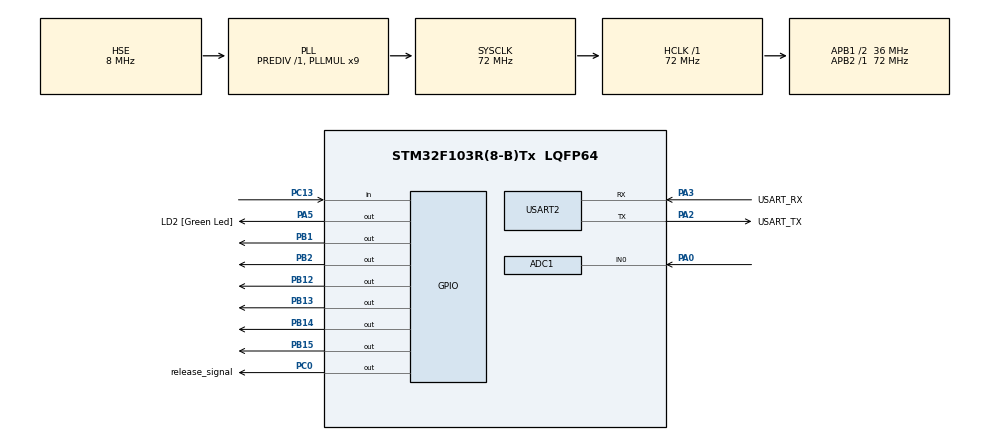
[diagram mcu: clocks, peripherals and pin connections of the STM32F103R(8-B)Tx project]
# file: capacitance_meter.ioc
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ADC1.AWD1HighThreshold=2589
ADC1.AWD1ITMode=ENABLE
ADC1.Channel-1\#ChannelRegularConversion=ADC_CHANNEL_0
ADC1.ContinuousConvMode=ENABLE
ADC1.EnableAnalogWatchDog=true
ADC1.NbrOfConversion=1
ADC1.NbrOfConversionFlag=1
ADC1.Rank-1\#ChannelRegularConversion=1
ADC1.SamplingTime-1\#ChannelRegularConversion=ADC_SAMPLETIME_1CYCLE_5
ADC1.WatchdogChannel=ADC_CHANNEL_0
ADC1.master=1
Mcu.Family=STM32F1
Mcu.Name=STM32F103R(8-B)Tx
Mcu.Package=LQFP64
NVIC.ADC1_2_IRQn=true\:0\:0\:false\:false\:true\:true\:true\:true
NVIC.PriorityGroup=NVIC_PRIORITYGROUP_4
PA0-WKUP.Signal=ADCx_IN0
PA13.GPIO_Label=TMS
PA13.Mode=Serial_Wire
PA13.Signal=SYS_JTMS-SWDIO
PA14.GPIO_Label=TCK
PA14.Mode=Serial_Wire
PA14.Signal=SYS_JTCK-SWCLK
PA2.GPIO_Label=USART_TX
PA2.GPIO_Mode=GPIO_MODE_AF_PP
PA2.GPIO_PuPd=GPIO_NOPULL
PA2.GPIO_Speed=GPIO_SPEED_FREQ_LOW
PA2.Mode=Asynchronous
PA2.Signal=USART2_TX
PA3.GPIO_Label=USART_RX
PA3.GPIO_Mode=GPIO_MODE_AF_PP
PA3.GPIO_PuPd=GPIO_NOPULL
PA3.GPIO_Speed=GPIO_SPEED_FREQ_LOW
PA3.Mode=Asynchronous
PA3.Signal=USART2_RX
PA5.GPIO_Label=LD2 [Green Led]
PA5.GPIO_ModeDefaultOutputPP=GPIO_MODE_OUTPUT_PP
PA5.GPIO_PuPd=GPIO_NOPULL
PA5.GPIO_Speed=GPIO_SPEED_FREQ_LOW
PA5.Signal=GPIO_Output
PB1.Signal=GPIO_Output
PB12.Signal=GPIO_Output
PB13.Signal=GPIO_Output
PB14.Signal=GPIO_Output
PB15.Signal=GPIO_Output
PB2.Signal=GPIO_Output
PB3.GPIO_Label=SWO
PB3.Signal=SYS_JTDO-TRACESWO
PC0.GPIO_Label=release_signal
PC0.Signal=GPIO_Output
PC13-TAMPER-RTC.GPIO_PuPd=GPIO_PULLUP
PC13-TAMPER-RTC.Signal=GPIO_Input
PC14-OSC32_IN.Mode=LSE-External-Oscillator
PC14-OSC32_IN.Signal=RCC_OSC32_IN
PC15-OSC32_OUT.Mode=LSE-External-Oscillator
PC15-OSC32_OUT.Signal=RCC_OSC32_OUT
PD0-OSC_IN.Mode=HSE-External-Clock-Source
PD0-OSC_IN.Signal=RCC_OSC_IN
PD1-OSC_OUT.Mode=HSE-External-Clock-Source
PD1-OSC_OUT.Signal=RCC_OSC_OUT
ProjectManager.HeapSize=0x200
ProjectManager.StackSize=0x400
ProjectManager.TargetToolchain=STM32CubeIDE
RCC.ADCPresc=RCC_ADCPCLK2_DIV6
RCC.AHBFreq_Value=72000000
RCC.APB1CLKDivider=RCC_HCLK_DIV2
RCC.APB1Freq_Value=36000000
RCC.APB1TimFreq_Value=72000000
RCC.APB2Freq_Value=72000000
RCC.APB2TimFreq_Value=72000000
RCC.HCLKFreq_Value=72000000
RCC.PLLMUL=RCC_PLL_MUL9
RCC.PLLSourceVirtual=RCC_PLLSOURCE_HSE
RCC.RTCClockSelection=RCC_RTCCLKSOURCE_LSE
RCC.SYSCLKFreq_VALUE=72000000
RCC.SYSCLKSource=RCC_SYSCLKSOURCE_PLLCLK
RCC.USBFreq_Value=72000000
SH.ADCx_IN0.0=ADC1_IN0,IN0
TIM1.Prescaler=72-1
USART2.VirtualMode=VM_ASYNC
VP_TIM1_VS_ClockSourceINT.Mode=Internal
board=NUCLEO-F103RB

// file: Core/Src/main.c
/* USER CODE BEGIN Header */
/**
  ******************************************************************************
  * @file           : main.c
  * @brief          : Main program body
  ******************************************************************************
  * @attention
  *
  * Copyright (c) 2023 STMicroelectronics.
  * All rights reserved.
  *
  * This software is licensed under terms that can be found in the LICENSE file
  * in the root directory of this software component.
  * If no LICENSE file comes with this software, it is provided AS-IS.
  *
  ******************************************************************************
  */
/* USER CODE END Header */
#include "main.h"
#include "stdio.h"
#include "stdbool.h"

/* USER CODE BEGIN Includes */
#include "lcd.h"
/* USER CODE END Includes */

/* USER CODE BEGIN PM */
#define R_VALUE 				(1000u)		//ohm
#define DISCHARGE_CAPACITOR		(GPIOC->ODR |= 1<<0)
#define CHARGE_CAPACITOR		(GPIOC->ODR &= ~(1<<0))
#define IS_BUTTON_PUSHED		!(GPIOC->IDR & 1<<13)

/* USER CODE END PM */

 ADC_HandleTypeDef hadc1;

TIM_HandleTypeDef htim1;

UART_HandleTypeDef huart2;

/* USER CODE BEGIN PV */
char result[20] ={0};
uint8_t is_measurement_done = 0;

/* USER CODE END PV */

void SystemClock_Config(void);
static void MX_GPIO_Init(void);
static void MX_USART2_UART_Init(void);
static void MX_ADC1_Init(void);
static void MX_TIM1_Init(void);

int main(void)
{

  /* MCU Configuration--------------------------------------------------------*/

  /* Reset of all peripherals, Initializes the Flash interface and the Systick. */
  HAL_Init();

  /* Configure the system clock */
  SystemClock_Config();

  /* Initialize all configured peripherals */
  MX_GPIO_Init();
  MX_USART2_UART_Init();
  MX_ADC1_Init();
  MX_TIM1_Init();
  /* USER CODE BEGIN 2 */
  DISCHARGE_CAPACITOR;
  HAL_ADC_Start(&hadc1);
  lcd_init();
  HAL_Delay(50);
  /* USER CODE END 2 */

  /* Infinite loop */
  while (1)
  {

    /* USER CODE BEGIN 3 */
	  if(IS_BUTTON_PUSHED){
			CHARGE_CAPACITOR;
			HAL_TIM_Base_Start(&htim1);
			while(is_measurement_done == false);
			lcd_string(result);
			HAL_ADC_Start(&hadc1);
	  }
	  is_measurement_done = false;

  }
  /* USER CODE END 3 */
}

void SystemClock_Config(void)
{
  RCC_OscInitTypeDef RCC_OscInitStruct = {0};
  RCC_ClkInitTypeDef RCC_ClkInitStruct = {0};
  RCC_PeriphCLKInitTypeDef PeriphClkInit = {0};

  /** Initializes the RCC Oscillators according to the specified parameters
  * in the RCC_OscInitTypeDef structure.
  */
  RCC_OscInitStruct.OscillatorType = RCC_OSCILLATORTYPE_HSE;
  RCC_OscInitStruct.HSEState = RCC_HSE_BYPASS;
  RCC_OscInitStruct.HSEPredivValue = RCC_HSE_PREDIV_DIV1;
  RCC_OscInitStruct.HSIState = RCC_HSI_ON;
  RCC_OscInitStruct.PLL.PLLState = RCC_PLL_ON;
  RCC_OscInitStruct.PLL.PLLSource = RCC_PLLSOURCE_HSE;
  RCC_OscInitStruct.PLL.PLLMUL = RCC_PLL_MUL9;
  if (HAL_RCC_OscConfig(&RCC_OscInitStruct) != HAL_OK)
  {
    Error_Handler();
  }

  /** Initializes the CPU, AHB and APB buses clocks
  */
  RCC_ClkInitStruct.ClockType = RCC_CLOCKTYPE_HCLK|RCC_CLOCKTYPE_SYSCLK
                              |RCC_CLOCKTYPE_PCLK1|RCC_CLOCKTYPE_PCLK2;
  RCC_ClkInitStruct.SYSCLKSource = RCC_SYSCLKSOURCE_PLLCLK;
  RCC_ClkInitStruct.AHBCLKDivider = RCC_SYSCLK_DIV1;
  RCC_ClkInitStruct.APB1CLKDivider = RCC_HCLK_DIV2;
  RCC_ClkInitStruct.APB2CLKDivider = RCC_HCLK_DIV1;

  if (HAL_RCC_ClockConfig(&RCC_ClkInitStruct, FLASH_LATENCY_2) != HAL_OK)
  {
    Error_Handler();
  }
  PeriphClkInit.PeriphClockSelection = RCC_PERIPHCLK_ADC;
  PeriphClkInit.AdcClockSelection = RCC_ADCPCLK2_DIV6;
  if (HAL_RCCEx_PeriphCLKConfig(&PeriphClkInit) != HAL_OK)
  {
    Error_Handler();
  }
}

static void MX_ADC1_Init(void)
{

  ADC_AnalogWDGConfTypeDef AnalogWDGConfig = {0};
  ADC_ChannelConfTypeDef sConfig = {0};

  /** Common config
  */
  hadc1.Instance = ADC1;
  hadc1.Init.ScanConvMode = ADC_SCAN_DISABLE;
  hadc1.Init.ContinuousConvMode = ENABLE;
  hadc1.Init.DiscontinuousConvMode = DISABLE;
  hadc1.Init.ExternalTrigConv = ADC_SOFTWARE_START;
  hadc1.Init.DataAlign = ADC_DATAALIGN_RIGHT;
  hadc1.Init.NbrOfConversion = 1;
  if (HAL_ADC_Init(&hadc1) != HAL_OK)
  {
    Error_Handler();
  }

  /** Configure Analog WatchDog 1
  */
  AnalogWDGConfig.WatchdogMode = ADC_ANALOGWATCHDOG_SINGLE_REG;
  AnalogWDGConfig.HighThreshold = 2589;
  AnalogWDGConfig.LowThreshold = 0;
  AnalogWDGConfig.Channel = ADC_CHANNEL_0;
  AnalogWDGConfig.ITMode = ENABLE;
  if (HAL_ADC_AnalogWDGConfig(&hadc1, &AnalogWDGConfig) != HAL_OK)
  {
    Error_Handler();
  }

  /** Configure Regular Channel
  */
  sConfig.Channel = ADC_CHANNEL_0;
  sConfig.Rank = ADC_REGULAR_RANK_1;
  sConfig.SamplingTime = ADC_SAMPLETIME_1CYCLE_5;
  if (HAL_ADC_ConfigChannel(&hadc1, &sConfig) != HAL_OK)
  {
    Error_Handler();
  }

}

static void MX_TIM1_Init(void)
{

  TIM_ClockConfigTypeDef sClockSourceConfig = {0};
  TIM_MasterConfigTypeDef sMasterConfig = {0};

  htim1.Instance = TIM1;
  htim1.Init.Prescaler = 72-1;
  htim1.Init.CounterMode = TIM_COUNTERMODE_UP;
  htim1.Init.Period = 65535;
  htim1.Init.ClockDivision = TIM_CLOCKDIVISION_DIV1;
  htim1.Init.RepetitionCounter = 0;
  htim1.Init.AutoReloadPreload = TIM_AUTORELOAD_PRELOAD_DISABLE;
  if (HAL_TIM_Base_Init(&htim1) != HAL_OK)
  {
    Error_Handler();
  }
  sClockSourceConfig.ClockSource = TIM_CLOCKSOURCE_INTERNAL;
  if (HAL_TIM_ConfigClockSource(&htim1, &sClockSourceConfig) != HAL_OK)
  {
    Error_Handler();
  }
  sMasterConfig.MasterOutputTrigger = TIM_TRGO_RESET;
  sMasterConfig.MasterSlaveMode = TIM_MASTERSLAVEMODE_DISABLE;
  if (HAL_TIMEx_MasterConfigSynchronization(&htim1, &sMasterConfig) != HAL_OK)
  {
    Error_Handler();
  }

}

static void MX_USART2_UART_Init(void)
{

  huart2.Instance = USART2;
  huart2.Init.BaudRate = 115200;
  huart2.Init.WordLength = UART_WORDLENGTH_8B;
  huart2.Init.StopBits = UART_STOPBITS_1;
  huart2.Init.Parity = UART_PARITY_NONE;
  huart2.Init.Mode = UART_MODE_TX_RX;
  huart2.Init.HwFlowCtl = UART_HWCONTROL_NONE;
  huart2.Init.OverSampling = UART_OVERSAMPLING_16;
  if (HAL_UART_Init(&huart2) != HAL_OK)
  {
    Error_Handler();
  }

}

static void MX_GPIO_Init(void)
{
  GPIO_InitTypeDef GPIO_InitStruct = {0};

  /* GPIO Ports Clock Enable */
  __HAL_RCC_GPIOC_CLK_ENABLE();
  __HAL_RCC_GPIOD_CLK_ENABLE();
  __HAL_RCC_GPIOA_CLK_ENABLE();
  __HAL_RCC_GPIOB_CLK_ENABLE();

  /*Configure GPIO pin Output Level */
  HAL_GPIO_WritePin(release_signal_GPIO_Port, release_signal_Pin, GPIO_PIN_RESET);

  /*Configure GPIO pin Output Level */
  HAL_GPIO_WritePin(LD2_GPIO_Port, LD2_Pin, GPIO_PIN_RESET);

  /*Configure GPIO pin Output Level */
  HAL_GPIO_WritePin(GPIOB, GPIO_PIN_1|GPIO_PIN_2|GPIO_PIN_12|GPIO_PIN_13
                          |GPIO_PIN_14|GPIO_PIN_15, GPIO_PIN_RESET);

  /*Configure GPIO pin : PC13 */
  GPIO_InitStruct.Pin = GPIO_PIN_13;
  GPIO_InitStruct.Mode = GPIO_MODE_INPUT;
  GPIO_InitStruct.Pull = GPIO_PULLUP;
  HAL_GPIO_Init(GPIOC, &GPIO_InitStruct);

  /*Configure GPIO pin : release_signal_Pin */
  GPIO_InitStruct.Pin = release_signal_Pin;
  GPIO_InitStruct.Mode = GPIO_MODE_OUTPUT_PP;
  GPIO_InitStruct.Pull = GPIO_NOPULL;
  GPIO_InitStruct.Speed = GPIO_SPEED_FREQ_LOW;
  HAL_GPIO_Init(release_signal_GPIO_Port, &GPIO_InitStruct);

  /*Configure GPIO pin : LD2_Pin */
  GPIO_InitStruct.Pin = LD2_Pin;
  GPIO_InitStruct.Mode = GPIO_MODE_OUTPUT_PP;
  GPIO_InitStruct.Pull = GPIO_NOPULL;
  GPIO_InitStruct.Speed = GPIO_SPEED_FREQ_LOW;
  HAL_GPIO_Init(LD2_GPIO_Port, &GPIO_InitStruct);

  /*Configure GPIO pins : PB1 PB2 PB12 PB13
                           PB14 PB15 */
  GPIO_InitStruct.Pin = GPIO_PIN_1|GPIO_PIN_2|GPIO_PIN_12|GPIO_PIN_13
                          |GPIO_PIN_14|GPIO_PIN_15;
  GPIO_InitStruct.Mode = GPIO_MODE_OUTPUT_PP;
  GPIO_InitStruct.Pull = GPIO_NOPULL;
  GPIO_InitStruct.Speed = GPIO_SPEED_FREQ_LOW;
  HAL_GPIO_Init(GPIOB, &GPIO_InitStruct);

}

/* USER CODE BEGIN 4 */
void HAL_ADC_LevelOutOfWindowCallback(ADC_HandleTypeDef * hadc)
{
	uint16_t time;				//us
	float cap_value;

	time = TIM1->CNT;
	HAL_TIM_Base_Stop(&htim1);
	TIM1->CNT = 0;
	if(time < 1000){
		cap_value = time;					//No need to divide with R because result will be cap value in nFs
		sprintf(result, "%d nF",cap_value);
		is_measurement_done = true;
	}

	else{
		cap_value = time/R_VALUE;
		sprintf(result, "%0.3f uF",cap_value);
		is_measurement_done = true;
	}

	DISCHARGE_CAPACITOR;
	HAL_ADC_Stop(&hadc1);					// Stopping ADC to prevent re-trigger callback
}
/* USER CODE END 4 */

void Error_Handler(void)
{
  __disable_irq();
  while (1)
  {
  }
}
